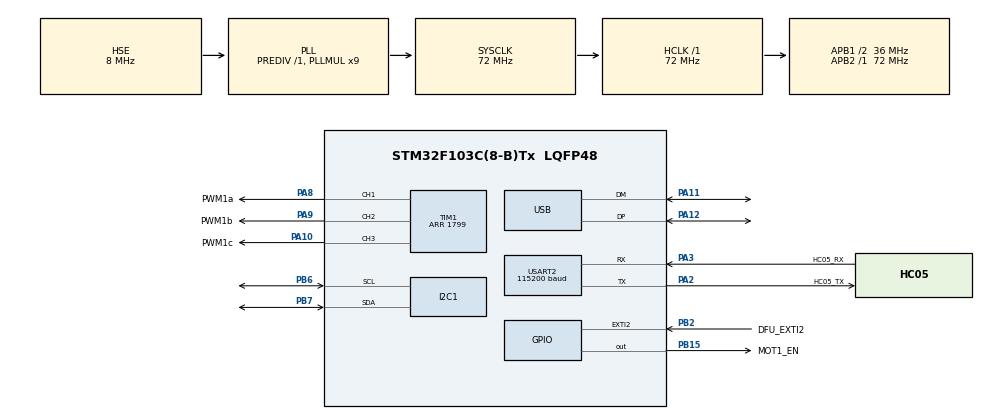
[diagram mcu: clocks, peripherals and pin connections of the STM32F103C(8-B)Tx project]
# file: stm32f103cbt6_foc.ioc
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Dma.I2C1_RX.0.Direction=DMA_PERIPH_TO_MEMORY
Dma.I2C1_RX.0.Instance=DMA1_Channel7
Dma.I2C1_RX.0.MemDataAlignment=DMA_MDATAALIGN_BYTE
Dma.I2C1_RX.0.MemInc=DMA_MINC_ENABLE
Dma.I2C1_RX.0.Mode=DMA_NORMAL
Dma.I2C1_RX.0.PeriphDataAlignment=DMA_PDATAALIGN_BYTE
Dma.I2C1_RX.0.PeriphInc=DMA_PINC_DISABLE
Dma.I2C1_RX.0.Priority=DMA_PRIORITY_LOW
Dma.Request0=I2C1_RX
I2C1.I2C_Mode=I2C_Fast
IWDG.Prescaler=IWDG_PRESCALER_256
Mcu.Family=STM32F1
Mcu.Name=STM32F103C(8-B)Tx
Mcu.Package=LQFP48
NVIC.DMA1_Channel7_IRQn=true\:1\:0\:true\:false\:true\:false\:true\:true
NVIC.EXTI2_IRQn=true\:1\:0\:true\:false\:true\:true\:true\:true
NVIC.PriorityGroup=NVIC_PRIORITYGROUP_4
NVIC.TIM2_IRQn=true\:1\:0\:true\:false\:true\:true\:true\:true
NVIC.USART2_IRQn=true\:2\:0\:true\:false\:true\:true\:true\:true
NVIC.USB_LP_CAN1_RX0_IRQn=true\:0\:0\:false\:false\:true\:false\:true\:true
PA10.GPIO_Label=PWM1c
PA10.GPIO_Speed=GPIO_SPEED_FREQ_HIGH
PA10.Signal=S_TIM1_CH3
PA11.Mode=Device
PA11.Signal=USB_DM
PA12.Mode=Device
PA12.Signal=USB_DP
PA13.Mode=Serial_Wire
PA13.Signal=SYS_JTMS-SWDIO
PA14.Mode=Serial_Wire
PA14.Signal=SYS_JTCK-SWCLK
PA2.GPIO_Label=HC05_TX
PA2.Mode=Asynchronous
PA2.Signal=USART2_TX
PA3.GPIO_Label=HC05_RX
PA3.Mode=Asynchronous
PA3.Signal=USART2_RX
PA8.GPIO_Label=PWM1a
PA8.GPIO_Speed=GPIO_SPEED_FREQ_HIGH
PA8.Signal=S_TIM1_CH1
PA9.GPIO_Label=PWM1b
PA9.GPIO_Speed=GPIO_SPEED_FREQ_HIGH
PA9.Signal=S_TIM1_CH2
PB15.GPIO_Label=MOT1_EN
PB15.PinState=GPIO_PIN_RESET
PB15.Signal=GPIO_Output
PB2.GPIO_Label=DFU_EXTI2
PB2.Signal=GPXTI2
PB6.Mode=I2C
PB6.Signal=I2C1_SCL
PB7.Mode=I2C
PB7.Signal=I2C1_SDA
PD0-OSC_IN.Mode=HSE-External-Oscillator
PD0-OSC_IN.Signal=RCC_OSC_IN
PD1-OSC_OUT.Mode=HSE-External-Oscillator
PD1-OSC_OUT.Signal=RCC_OSC_OUT
ProjectManager.HeapSize=0x200
ProjectManager.StackSize=0x400
ProjectManager.TargetToolchain=STM32CubeIDE
RCC.AHBFreq_Value=72000000
RCC.APB1CLKDivider=RCC_HCLK_DIV2
RCC.APB1Freq_Value=36000000
RCC.APB1TimFreq_Value=72000000
RCC.APB2Freq_Value=72000000
RCC.APB2TimFreq_Value=72000000
RCC.HCLKFreq_Value=72000000
RCC.PLLMUL=RCC_PLL_MUL9
RCC.PLLSourceVirtual=RCC_PLLSOURCE_HSE
RCC.SYSCLKFreq_VALUE=72000000
RCC.SYSCLKSource=RCC_SYSCLKSOURCE_PLLCLK
RCC.USBFreq_Value=48000000
RCC.USBPrescaler=RCC_USBCLKSOURCE_PLL_DIV1_5
SH.S_TIM1_CH1.0=TIM1_CH1,PWM Generation1 CH1
SH.S_TIM1_CH2.0=TIM1_CH2,PWM Generation2 CH2
SH.S_TIM1_CH3.0=TIM1_CH3,PWM Generation3 CH3
TIM1.AutoReloadPreload=TIM_AUTORELOAD_PRELOAD_DISABLE
TIM1.AutomaticOutput=TIM_AUTOMATICOUTPUT_ENABLE
TIM1.Channel-PWM\ Generation1\ CH1=TIM_CHANNEL_1
TIM1.Channel-PWM\ Generation2\ CH2=TIM_CHANNEL_2
TIM1.Channel-PWM\ Generation3\ CH3=TIM_CHANNEL_3
TIM1.Channel-PWM\ Generation4\ No\ Output=TIM_CHANNEL_4
TIM1.CounterMode=TIM_COUNTERMODE_CENTERALIGNED1
TIM1.Period=1799
TIM2.Period=99
TIM2.Prescaler=71
USART2.BaudRate=115200
USART2.VirtualMode=VM_ASYNC
USB_DEVICE.CLASS_NAME_FS=CDC
USB_DEVICE.VirtualMode=Cdc
USB_DEVICE.VirtualModeFS=Cdc_FS
VP_IWDG_VS_IWDG.Mode=IWDG_Activate
VP_TIM1_VS_ClockSourceINT.Mode=Internal
VP_TIM1_VS_no_output4.Mode=PWM Generation4 No Output
VP_TIM2_VS_ClockSourceINT.Mode=Internal
VP_USB_DEVICE_VS_USB_DEVICE_CDC_FS.Mode=CDC_FS
board=custom

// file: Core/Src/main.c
/* USER CODE BEGIN Header */
/**
 ******************************************************************************
 * @file           : main.c
 * @brief          : Main program body
 ******************************************************************************
 * @attention
 *
 * Copyright (c) 2026 STMicroelectronics.
 * All rights reserved.
 *
 * This software is licensed under terms that can be found in the LICENSE file
 * in the root directory of this software component.
 * If no LICENSE file comes with this software, it is provided AS-IS.
 *
 ******************************************************************************
 */
/* USER CODE END Header */
#include "main.h"
#include "dma.h"
#include "i2c.h"
#include "iwdg.h"
#include "tim.h"
#include "usart.h"
#include "usb_device.h"
#include "gpio.h"

/* USER CODE BEGIN Includes */
#include "as5600.h"
#include "app_autotune.h"
#include "app_command.h"
#include "app_telemetry.h"
#include "foc.h"
#include "usbd_cdc_if.h"
#include <math.h>
/* USER CODE END Includes */

/* USER CODE BEGIN PV */
uint8_t usb_rx_buffer[USB_RX_BUFFER_SIZE];
uint32_t usb_rx_len = 0;
uint8_t uart_rx_buffer[UART_RX_BUFFER_SIZE];
uint32_t uart_rx_len = 0;
volatile uint8_t foc_flag = 0;
volatile uint8_t usb_rx_ready = 0;
volatile uint8_t uart_rx_ready = 0;
#if HC05_ENABLED
static uint8_t uart2_rx_byte = 0;
#endif
static char uart_line_buffer[UART_RX_BUFFER_SIZE];
static uint32_t uart_line_len = 0;
static uint8_t command_usb_tx_buffer[512];

typedef enum
{
	COMMAND_TRANSPORT_USB = 0,
	COMMAND_TRANSPORT_UART = 1
} CommandTransport_t;

static volatile CommandTransport_t active_command_transport = COMMAND_TRANSPORT_USB;

extern uint8_t USB_CDC_Transmit_FS(uint8_t *Buf, uint16_t Len);

/* USER CODE END PV */

void SystemClock_Config(void);
/* USER CODE BEGIN PFP */
static void BluePill_ForceUsbReenumeration(void);
uint8_t Command_Transmit(uint8_t *Buf, uint16_t Len);
/* USER CODE END PFP */

/* USER CODE BEGIN 0 */
static void BluePill_ForceUsbReenumeration(void)
{
	GPIO_InitTypeDef GPIO_InitStruct =
	{ 0 };

	__HAL_RCC_GPIOA_CLK_ENABLE();

	// Blue Pill boards often need D+ forced low briefly so the host sees a disconnect.
	GPIO_InitStruct.Pin = GPIO_PIN_12;
	GPIO_InitStruct.Mode = GPIO_MODE_OUTPUT_PP;
	GPIO_InitStruct.Pull = GPIO_NOPULL;
	GPIO_InitStruct.Speed = GPIO_SPEED_FREQ_LOW;
	HAL_GPIO_Init(GPIOA, &GPIO_InitStruct);
	HAL_GPIO_WritePin(GPIOA, GPIO_PIN_12, GPIO_PIN_RESET);
	HAL_Delay(20);

	// Release PA12 so the USB peripheral can take ownership during MX_USB_DEVICE_Init().
	GPIO_InitStruct.Mode = GPIO_MODE_INPUT;
	HAL_GPIO_Init(GPIOA, &GPIO_InitStruct);
	HAL_Delay(20);
}

uint8_t Command_Transmit(uint8_t *Buf, uint16_t Len)
{
	if ((Buf == NULL) || (Len == 0U))
	{
		return USBD_FAIL;
	}

#if HC05_ENABLED
	if (active_command_transport == COMMAND_TRANSPORT_UART)
	{
		return (USART2_Transmit_Blocking(Buf, Len, 100U) == 0U) ? USBD_OK : USBD_FAIL;
	}
#endif

	if (Len > sizeof(command_usb_tx_buffer))
	{
		return USBD_FAIL;
	}

	memcpy(command_usb_tx_buffer, Buf, Len);
	for (uint32_t start = HAL_GetTick(); (HAL_GetTick() - start) < 25U;)
	{
		if (USB_CDC_Transmit_FS(command_usb_tx_buffer, Len) == USBD_OK)
		{
			return USBD_OK;
		}
		HAL_Delay(1);
	}

	return USBD_BUSY;
}

void HAL_TIM_PeriodElapsedCallback(TIM_HandleTypeDef *htim)
{
	if (htim->Instance == TIM2)
	{
		foc_flag = 1;
		// FOC_Loop runs in the main loop to keep ISR work short and avoid
		// destabilizing the rest of the firmware.
	}
}

void enter_dfu_mode(void)
{
	// Write the magic value to the last 8 bytes of RAM
	volatile uint64_t *magic = (uint64_t *)(0x20004FF8);
	*magic = 0xDEADBEEFCC00FFEEULL;

	// Trigger a system reset
	NVIC_SystemReset();
}

void HAL_GPIO_EXTI_Callback(uint16_t GPIO_Pin)
{
 if (GPIO_Pin == DFU_EXTI2_Pin)
	{
		enter_dfu_mode();
	}
}
void HC05_OnByteReceived(uint8_t ch)
{
	if ((ch == '\r') || (ch == '\n'))
	{
		if ((uart_line_len > 0U) && !uart_rx_ready)
		{
			memcpy(uart_rx_buffer, uart_line_buffer, uart_line_len);
			uart_rx_buffer[uart_line_len] = '\0';
			uart_rx_len = uart_line_len;
			uart_rx_ready = 1U;
			uart_line_len = 0U;
		}
	}
	else if (uart_line_len < (UART_RX_BUFFER_SIZE - 1U))
	{
		uart_line_buffer[uart_line_len++] = (char) ch;
	}
	else
	{
		uart_line_len = 0U;
	}
}

void HAL_UART_RxCpltCallback(UART_HandleTypeDef *huart)
{
#if HC05_ENABLED
	if (huart->Instance == USART2)
	{
		HC05_OnByteReceived(uart2_rx_byte);
		HAL_UART_Receive_IT(&huart2, &uart2_rx_byte, 1U);
	}
#else
	(void) huart;
#endif
}

void HAL_UART_ErrorCallback(UART_HandleTypeDef *huart)
{
#if HC05_ENABLED
	if (huart->Instance == USART2)
	{
		__HAL_UART_CLEAR_OREFLAG(huart);
		uart_line_len = 0U;
		HAL_UART_Receive_IT(&huart2, &uart2_rx_byte, 1U);
	}
#else
	(void) huart;
#endif
}

/* USER CODE END 0 */

int main(void)
{

	/* MCU Configuration--------------------------------------------------------*/

	/* Reset of all peripherals, Initializes the Flash interface and the Systick. */
	HAL_Init();

	/* Configure the system clock */
	SystemClock_Config();

	/* USER CODE BEGIN SysInit */
	//__HAL_RCC_AFIO_CLK_ENABLE();
	// AFIO->MAPR &= ~AFIO_MAPR_TIM1_REMAP;
	/* USER CODE END SysInit */

	/* Initialize all configured peripherals */
	MX_GPIO_Init();
	MX_DMA_Init();
	MX_I2C1_Init();
	MX_USART2_UART_Init();
	BluePill_ForceUsbReenumeration();
	MX_USB_DEVICE_Init();
	MX_TIM1_Init();
	MX_TIM2_Init();
	MX_IWDG_Init();
	/* USER CODE BEGIN 2 */

	HAL_TIM_Base_Start(&htim1);
	HAL_TIM_PWM_Start(&htim1, TIM_CHANNEL_1);
	HAL_TIM_PWM_Start(&htim1, TIM_CHANNEL_2);
	HAL_TIM_PWM_Start(&htim1, TIM_CHANNEL_3);

	// Start encoder DMA reading immediately (independent of motor state)
	AS5600_StartDMA();

	// Start FOC timer for continuous velocity measurement
	HAL_TIM_Base_Start_IT(&htim2);
#if HC05_ENABLED
	HAL_UART_Receive_IT(&huart2, &uart2_rx_byte, 1U);
#endif

	control_mode = MODE_VELOCITY;
	target_velocity = 0.0f; // Start with zero velocity - wait for START command

	// Keep autonomous status/telemetry on USB so the web dashboard is not affected
	// by noise or activity on the optional HC-05 link.
	AppTelemetry_SendReady();
	/* USER CODE END 2 */

	/* Infinite loop */
	while (1)
	{
		HAL_IWDG_Refresh(&hiwdg);
		AS5600_Service();
		if (foc_flag)
		{
			foc_flag = 0;
			FOC_Loop();
		}
		AppTelemetry_UpdateCache();
		if (usb_rx_ready)
		{
			active_command_transport = COMMAND_TRANSPORT_USB;
			AppCommand_Process((const char*) usb_rx_buffer, usb_rx_len);
			usb_rx_ready = 0;															// Clear the flag
			usb_rx_len = 0;																// Reset length
			memset(usb_rx_buffer, 0, USB_RX_BUFFER_SIZE); // Clear buffer for next reception
			active_command_transport = COMMAND_TRANSPORT_USB;
		}
		if (uart_rx_ready)
		{
#if HC05_ENABLED
			active_command_transport = COMMAND_TRANSPORT_UART;
			AppCommand_Process((const char*) uart_rx_buffer, uart_rx_len);
			uart_rx_ready = 0;
			uart_rx_len = 0;
			memset(uart_rx_buffer, 0, UART_RX_BUFFER_SIZE);
			active_command_transport = COMMAND_TRANSPORT_USB;
#else
			uart_rx_ready = 0;
			uart_rx_len = 0;
			memset(uart_rx_buffer, 0, UART_RX_BUFFER_SIZE);
#endif
		}
		AppAutotune_Service();
		// Telemetry is served on-demand via GET_TELEMETRY / GET_DIAG so the dashboard
		// has a deterministic request/response path and does not compete with a
		// free-running USB stream.
	}
}

void SystemClock_Config(void)
{
	RCC_OscInitTypeDef RCC_OscInitStruct =
	{ 0 };
	RCC_ClkInitTypeDef RCC_ClkInitStruct =
	{ 0 };
	RCC_PeriphCLKInitTypeDef PeriphClkInit =
	{ 0 };

	/** Initializes the RCC Oscillators according to the specified parameters
	 * in the RCC_OscInitTypeDef structure.
	 */
	RCC_OscInitStruct.OscillatorType = RCC_OSCILLATORTYPE_LSI | RCC_OSCILLATORTYPE_HSE;
	RCC_OscInitStruct.HSEState = RCC_HSE_ON;
	RCC_OscInitStruct.HSEPredivValue = RCC_HSE_PREDIV_DIV1;
	RCC_OscInitStruct.HSIState = RCC_HSI_ON;
	RCC_OscInitStruct.LSIState = RCC_LSI_ON;
	RCC_OscInitStruct.PLL.PLLState = RCC_PLL_ON;
	RCC_OscInitStruct.PLL.PLLSource = RCC_PLLSOURCE_HSE;
	RCC_OscInitStruct.PLL.PLLMUL = RCC_PLL_MUL9;
	if (HAL_RCC_OscConfig(&RCC_OscInitStruct) != HAL_OK)
	{
		Error_Handler();
	}

	/** Initializes the CPU, AHB and APB buses clocks
	 */
	RCC_ClkInitStruct.ClockType = RCC_CLOCKTYPE_HCLK | RCC_CLOCKTYPE_SYSCLK | RCC_CLOCKTYPE_PCLK1 | RCC_CLOCKTYPE_PCLK2;
	RCC_ClkInitStruct.SYSCLKSource = RCC_SYSCLKSOURCE_PLLCLK;
	RCC_ClkInitStruct.AHBCLKDivider = RCC_SYSCLK_DIV1;
	RCC_ClkInitStruct.APB1CLKDivider = RCC_HCLK_DIV2;
	RCC_ClkInitStruct.APB2CLKDivider = RCC_HCLK_DIV1;

	if (HAL_RCC_ClockConfig(&RCC_ClkInitStruct, FLASH_LATENCY_2) != HAL_OK)
	{
		Error_Handler();
	}
	PeriphClkInit.PeriphClockSelection = RCC_PERIPHCLK_USB;
	PeriphClkInit.UsbClockSelection = RCC_USBCLKSOURCE_PLL_DIV1_5;
	if (HAL_RCCEx_PeriphCLKConfig(&PeriphClkInit) != HAL_OK)
	{
		Error_Handler();
	}
}

void Error_Handler(void)
{
	__disable_irq();
	while (1)
	{
	}
}
